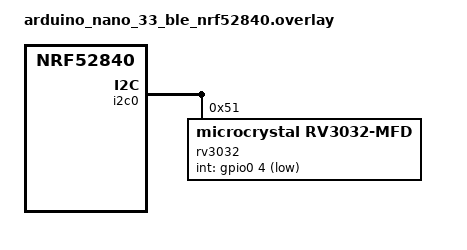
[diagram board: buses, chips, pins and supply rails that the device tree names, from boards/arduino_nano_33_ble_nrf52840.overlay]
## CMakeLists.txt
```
cmake_minimum_required(VERSION 3.20.0)

find_package(Zephyr REQUIRED HINTS $ENV{ZEPHYR_BASE})

project(app LANGUAGES C)

target_sources(app PRIVATE src/main.c)
```

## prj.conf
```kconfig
CONFIG_CBPRINTF_FP_SUPPORT=y


CONFIG_LOG=y
CONFIG_UART_CONSOLE=n
CONFIG_RTT_CONSOLE=y
CONFIG_USE_SEGGER_RTT=y
CONFIG_LOG_BACKEND_RTT=y
CONFIG_LOG_MODE_IMMEDIATE=y

# CONFIG_LOG_DEFAULT_LEVEL=4

CONFIG_I2C=y
CONFIG_MFD=y
# CONFIG_MFD_INIT_PRIORITY=80
CONFIG_MFD_RV3032=y

CONFIG_COUNTER=y
CONFIG_COUNTER_RV3032=y

CONFIG_RTC=y
CONFIG_RTC_ALARM=y
CONFIG_RTC_UPDATE=y
# CONFIG_RTC_RV3032_INIT_PRIORITY=86
CONFIG_RTC_RV3032=y

CONFIG_SENSOR=y
CONFIG_SENSOR_ASYNC_API=y
CONFIG_SENSOR_RV3032=y
```

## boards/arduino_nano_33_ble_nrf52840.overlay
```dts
// To get started, press Ctrl+Space to bring up the completion menu and view the available nodes.

// You can also use the buttons in the sidebar to perform actions on nodes.
// Actions currently available include:

// * Enabling / disabling the node
// * Adding the bus to a bus
// * Removing the node
// * Connecting ADC channels

// For more help, browse the DeviceTree documentation at https://docs.zephyrproject.org/latest/guides/dts/index.html
// You can also visit the nRF DeviceTree extension documentation at https://docs.nordicsemi.com/bundle/nrf-connect-vscode/page/guides/ncs_configure_app.html#devicetree-support-in-the-extension

&i2c0 {
    rv3032: rv3032@51 {
		compatible = "microcrystal,rv3032-mfd";
		reg = <0x51>;
        int-gpios = <&gpio0 4 (GPIO_PULL_UP | GPIO_ACTIVE_LOW)>;
        backup-switch-mode = "level";

        rv3032_rtc: rv3032-rtc {
            compatible = "microcrystal,rv3032-rtc";
        };
        
        rv3032_sensor: rv3032-sensor {
            compatible = "microcrystal,rv3032-sensor";
        };

        rv3032_counter: rv3032-counter {
            compatible = "microcrystal,rv3032-counter";
            freq = "1";
        };
	};
};
```

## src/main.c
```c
#include <zephyr/kernel.h>
#include <zephyr/sys/timeutil.h>
#include <zephyr/drivers/counter.h>
#include <zephyr/drivers/i2c.h>
#include <zephyr/drivers/rtc.h>
#include <zephyr/drivers/sensor.h>
#include <zephyr/logging/log.h>
#include <zephyr/rtio/rtio.h>


#define Q31_DIVISOR 2147483648.0 // 2^31

#define TEMP_CHANNEL (struct sensor_chan_spec){SENSOR_CHAN_AMBIENT_TEMP, 0}

LOG_MODULE_REGISTER(i2c_example, LOG_LEVEL_INF);

static const struct device* rv3032_mfd = DEVICE_DT_GET(DT_NODELABEL(rv3032));
static const struct device* rv3032_rtc = DEVICE_DT_GET(DT_NODELABEL(rv3032_rtc));
static const struct device* rv3032_sensor = DEVICE_DT_GET(DT_NODELABEL(rv3032_sensor));
static const struct device* rv3032_counter = DEVICE_DT_GET(DT_NODELABEL(rv3032_counter));
// static const struct device* rv3032_sensor = DEVICE_DT_GET(DT_NODELABEL(rv3032_sensor));

SENSOR_DT_READ_IODEV(temp_iodev, DT_NODELABEL(rv3032_sensor), TEMP_CHANNEL);
RTIO_DEFINE(temp_ctx, 1, 1);

struct alarm_cb_data {
    char* string;
};

void alarm_callback(const struct device *dev, uint16_t id, void *user_data) {
    if (id != 0) {
        LOG_ERR("Invalid ID");
        // return -EINVAL;
    }

    struct alarm_cb_data* data = user_data;

    LOG_INF("String is: %s", data->string);
}

void counter_top_callback(const struct device* dev, void *user_data) {
    LOG_INF("Counter calling you back :) HHHHHHHHHHHHHHHH");
    for (int i = 0; i < 15; i++) {
        counter_reset(dev);
        k_sleep(K_SECONDS(1));
    }
}

void counter_top_callback2(const struct device* dev, void *user_data) {
    LOG_INF("Counter calling you back :) THIS IS #2");
}

void counter_alarm_callback(const struct device* dev, uint8_t chan_id, uint32_t ticks, void *user_data) {
    LOG_INF("ALARM Counter calling you back :) GGGGGGGGGG");
}

int main(void) {
    uint8_t buf[10];
    struct sensor_q31_data temperature_sensor_data = {0};
    uint16_t mask;
    struct rtc_time t;
    struct alarm_cb_data cb_data = {.string = "BINGUS IS ME"};
    int ret;

    struct sensor_decode_context temperature_decoder = SENSOR_DECODE_CONTEXT_INIT(
        SENSOR_DECODER_DT_GET(DT_NODELABEL(rv3032_sensor)),
        buf,
        SENSOR_CHAN_AMBIENT_TEMP,
        0
    );

    LOG_INF("Starting up");
    k_sleep(K_SECONDS(2));
    LOG_INF("Demo starting...");

    if (!device_is_ready(rv3032_mfd)) {
        LOG_ERR("MFD device not ready");
        return 1;
    }

    if (!device_is_ready(rv3032_rtc)) {
        LOG_ERR("RTC device not ready");
        return 1;
    } 

    if (!device_is_ready(rv3032_sensor)) {
        LOG_ERR("Sensor device not ready");
        return 1;
    }

    if (!device_is_ready(rv3032_counter)) {
        LOG_ERR("Counter device not ready");
        return 1;
    }

    // TEMPERATURE //

    // const struct sensor_decoder_api *dec;
    // ret = sensor_get_decoder(rv3032_sensor, &dec);

    // To get some info about the data from this device...
    // size_t base_sz, frame_sz;
    // dec->get_size_info(TEMP_CHANNEL, &base_sz, &frame_sz);
    //
    // uint16_t avail_frames;
    // dec->get_frame_count(buf, TEMP_CHANNEL, &avail_frames);

    // RTC //

    LOG_INF("Getting supported fields");
    if (rtc_alarm_get_supported_fields(rv3032_rtc, 0, &mask) != 0) {
        LOG_ERR("Failed to get supported alarm fields");
        return 1;
    }
    LOG_INF("Supported fields: %02x", mask);

    // LOG_INF("Setting callback");
    // if ((ret = rtc_alarm_set_callback(rv3032_rtc, 0, alarm_callback, &cb_data)) != 0) {
    //     LOG_ERR("Failed to set alarm callback: %d", ret);
    //     return 1;
    // }
    
    LOG_INF("Getting time");
    if (rtc_get_time(rv3032_rtc, &t) != 0) {
        LOG_ERR("Failed to get RTC time");
        return 1;
    } 
    t.tm_min += 1;
    if (t.tm_min == 60) {
        t.tm_min = 0;
    }
    // LOG_INF("Setting alarm time");
    // if (rtc_alarm_set_time(rv3032_rtc, 0, RTC_ALARM_TIME_MASK_MINUTE, &t) != 0) {
    //     LOG_ERR("Failed to set RTC alarm");
    //     return 1;
    // }
    // if (rtc_alarm_get_time(rv3032_rtc, 0, &mask, &t) != 0) {
    //     LOG_ERR("RTC Alarm Mask: %x;\t\tminutes: %02d;\t\thours: %02d", mask, t.tm_min, t.tm_hour);
    //     return 1;
    // }

    LOG_INF("Setting up counter");
    const struct counter_top_cfg top_cfg = {
        .ticks = 5,
        .flags = 0,
        .callback = counter_top_callback,
        .user_data = NULL,
    };
    const struct counter_top_cfg top_cfg2 = {
        .ticks = 30,
        .flags = 0,
        .callback = counter_top_callback2,
        .user_data = NULL,
    };
    ret = counter_set_top_value(rv3032_counter, &top_cfg);
    if (ret) {
        LOG_ERR("Failed to setup counter top value: %d", ret);
        return 1;
    }

    LOG_INF("Set first one");
    k_sleep(K_SECONDS(1));


    // ret = counter_set_top_value(rv3032_counter, &top_cfg2);
    // if (ret) {
    //     LOG_ERR("Failed to setup counter top value 2: %d", ret);
    //     return 1;
    // }
    // LOG_INF("Set second one");
    // const struct counter_alarm_cfg alarm_cfg = {
    //     .ticks = 128,
    //     .flags = 0,
    //     .callback = counter_alarm_callback,
    //     .user_data = NULL,
    // };
    // ret = counter_set_channel_alarm(rv3032_counter, 0, &alarm_cfg);
    // if (ret) {
    //     LOG_ERR("Failed to setup counter top value: %d", ret);
    //     return 1;
    // }
    if (counter_start(rv3032_counter)) {
        LOG_ERR("Failed to start counter");
        return 1;
    }


    // struct rtc_time t = {
    //     .tm_nsec = 0,
    //     .tm_sec = 0,
    //     .tm_min = 5,
    //     .tm_hour = 22,
    //     .tm_wday = 5,
    //     .tm_mday = 19,
    //     .tm_mon = 8,
    //     .tm_year = 125,
    //     .tm_isdst = -1,
    //     .tm_yday = -1,
    // };
    // if (rtc_set_time(rv3032_mfd, &t) != 0) {
    //     LOG_ERR("Failed to set RTC time");
    // }


    while (true) {
        if (rtc_get_time(rv3032_rtc, &t) != 0) {
            LOG_ERR("Failed to get RTC time");
            continue;
        } 
        
        LOG_INF("%04d-%02d-%02d %02d:%02d:%02d (wday=%d)",
                t.tm_year + 1900, t.tm_mon+1, t.tm_mday, t.tm_hour, t.tm_min, t.tm_sec, t.tm_wday);
        
        // LOG_INF("bingus or whatever");

    ret = sensor_read(&temp_iodev, &temp_ctx, buf, sizeof(buf));
    if (ret != 0) {
        LOG_ERR("sensor_read() failed %d\n", ret);
        return 1;
    }
    ret = sensor_decode(&temperature_decoder, &temperature_sensor_data, 1);
    if (ret < 0) {
        LOG_ERR("sensor_decode() failed %d\n", ret);
        return 1;
    } else if (ret != 1) {
        LOG_ERR("sensor_decode() returned unexpected number of samples to read: %d\n", ret);
        return 1;
    }
    temperature_decoder.fit = 0;

    float temperature = temperature_sensor_data.readings[0].temperature / Q31_DIVISOR * (1 << temperature_sensor_data.shift);
    LOG_INF("Got temperature: %.4f (q31 = 0x%x)", (double) temperature, temperature_sensor_data.readings[0].temperature);

        k_sleep(K_SECONDS(1)); 
    }
    return 0;
}
```
